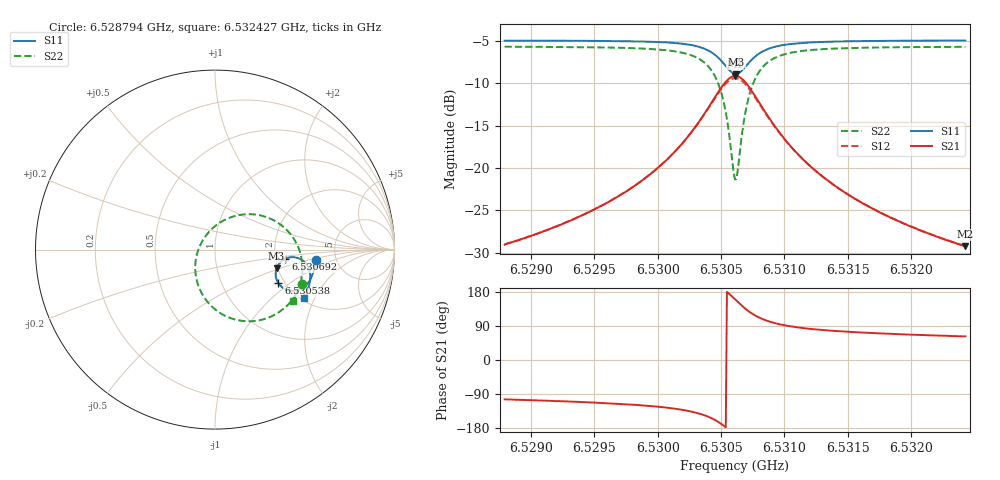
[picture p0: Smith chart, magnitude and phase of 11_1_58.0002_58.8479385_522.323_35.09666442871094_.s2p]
#  HZ  S  RI  R  50.00
! Rohde & Schwarz Vector Network Analyzer
! Rohde-Schwarz,ZNB20-2Port,1311601062101988,3.16
! Created: UTC 3/21/2024, 12:50:46 AM
! freq[Hz]  re:S11  im:S11  re:S21  im:S21  re:S12  im:S12  re:S22  im:S22
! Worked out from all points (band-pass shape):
!   401 points, 6.528794 GHz to 6.532427 GHz, reference 50 ohm
!   highest |S21| = -9.14 dB at 6.53061 GHz (marker M1); lowest = -29.2 dB at 6.532427 GHz (marker M2)
!   |S21| within 3 dB of the highest: 6.530431 GHz to 6.530795 GHz (363.5 kHz wide, 0.00557 % of centre)
!   lowest |S11| = -8.9 dB at 6.530619 GHz (marker M3), VSWR 2.12, Z = 98.4 - j23.8 ohm
!   |S11| at or under -10 dB: nowhere
!   |S22| runs from -21.3 to -5.7 dB; largest |S21 - S12| = 0.015
!   S11 on the Smith chart (normalised r, x): 6.528794 GHz: 3.48, -0.59; 6.530538 GHz: 1.85, -0.83; 6.530692 GHz: 2.27, -0.27; 6.532427 GHz: 2.10, -1.65
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6.5287938e9  0.5613 -0.0577  -0.00841 -0.0342  -0.0092 -0.0342  0.4829 -0.1911
6.5294023e9  0.5518 -0.1106  -0.0187 -0.0491  -0.02 -0.0486  0.4502 -0.253
6.5297474e9  0.5407 -0.1455  -0.0324 -0.0645  -0.0343 -0.0638  0.4146 -0.299
6.5300108e9  0.5243 -0.1773  -0.0559 -0.0846  -0.0585 -0.083  0.3617 -0.3451
6.5302287e9  0.4943 -0.2096  -0.1032 -0.1085  -0.1065 -0.1047  0.2668 -0.3892
6.5303831e9  0.4445 -0.2295  -0.1831 -0.1162  -0.1858 -0.1081  0.1202 -0.3915
6.530474e9  0.3927 -0.2213  -0.2645 -0.0838  -0.2626 -0.072  -0.0144 -0.3201
6.5305103e9  0.3692 -0.2056  -0.3 -0.0497  -0.2948 -0.0373  -0.0672 -0.2551
6.5305375e9  0.3531 -0.1871  -0.3222 -0.013  -0.3141 -0.00144  -0.0968 -0.1894
6.530592e9  0.338 -0.1343  -0.3368 0.0836  -0.3236 0.0904  -0.101 -0.027
6.5306102e9  0.3403 -0.1147  -0.3286 0.1183  -0.315 0.1223  -0.081 0.0277
6.5306193e9  0.3431 -0.1052  -0.3221 0.1349  -0.3084 0.1376  -0.0672 0.0535
6.5306374e9  0.3515 -0.0873  -0.3044 0.1654  -0.2912 0.1658  -0.0323 0.1
6.5306919e9  0.3923 -0.0509  -0.2281 0.2256  -0.219 0.2216  0.1041 0.1854
6.5307192e9  0.4153 -0.0437  -0.187 0.237  -0.1804 0.2325  0.1742 0.1972
6.5307555e9  0.4433 -0.0428  -0.1384 0.2381  -0.1341 0.2335  0.2559 0.1896
6.5308463e9  0.491 -0.0628  -0.0575 0.207  -0.0558 0.2046  0.3884 0.1203
6.5309825e9  0.5205 -0.1006  -0.0076 0.154  -0.0064 0.153  0.4643 0.0127
6.5312187e9  0.5308 -0.148  0.0147 0.0992  0.0156 0.0988  0.4872 -0.1007
6.5314911e9  0.5275 -0.1845  0.0186 0.068  0.0196 0.0678  0.4799 -0.1718
6.5318271e9  0.5186 -0.2184  0.0184 0.048  0.0191 0.0478  0.4633 -0.2252
6.5324265e9  0.4983 -0.2674  0.016 0.0306  0.0167 0.0303  0.4324 -0.2864
